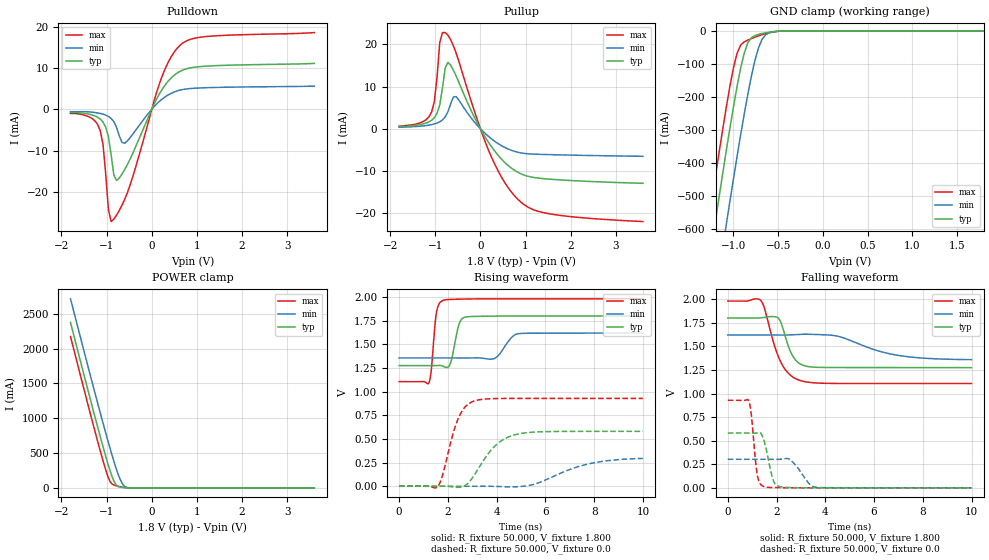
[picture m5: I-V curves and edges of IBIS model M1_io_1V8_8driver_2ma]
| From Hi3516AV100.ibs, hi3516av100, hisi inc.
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|   Model M1_io_1V8_8driver_2ma
[Model] M1_io_1V8_8driver_2ma
Model_type I/O
Enable   Active-Low
C_comp   2.169pF   2.129pF   2.343pF
C_comp_pullup   1.234pF   1.183pF   1.316pF
C_comp_pulldown   0.850pF   0.827pF   0.893pF
[Temperature Range]   25.000   0.125k   -40.000
[Voltage Range]   1.800V   1.620V   1.980V
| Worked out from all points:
|   slope of the pulldown table from 0 to 0.27 V, typ, clamps not added: 49.3 ohm
|   slope of the pullup table from 0 to 0.27 V, typ, clamps not added: 58.7 ohm
|   GND clamp passes 1 mA (typ) near -0.49 V on its own axis
|   POWER clamp passes 1 mA (typ) near -0.53 V on its own axis
|   rising waveform, R_fixture 50.000, V_fixture 1.800: 20-80 % time 250ps typ, 440ps min, 177ps max; typ from 1.27 V to 1.8 V
|   rising waveform, R_fixture 50.000, V_fixture 0.0: 20-80 % time 1.03ns typ, 1.83ns min, 621ps max; typ from 0 V to 0.581 V
|   falling waveform, R_fixture 50.000, V_fixture 1.800: 20-80 % time 451ps typ, 1.87ns min, 678ps max; typ from 1.8 V to 1.27 V
|   falling waveform, R_fixture 50.000, V_fixture 0.0: 20-80 % time 298ps typ, 511ps min, 203ps max; typ from 0.581 V to 0 V
[Pulldown]
|Voltage   I(typ)   I(min)   I(max)
-1.8V     -834.9uA   -584.3uA   -1.004mA
-1.32V    -1.381mA   -701.5uA   -2.25mA
-1.14V    -2.383mA   -1.008mA   -5.228mA
-1.08V    -3.097mA   -1.175mA   -8.538mA
-960mV    -6.663mA   -1.729mA   -24.37mA
-900mV    -11.1mA    -2.224mA   -27.22mA
-840mV    -15.93mA   -3.027mA   -26.64mA
-720mV    -16.67mA   -6.405mA   -24.52mA
-600mV    -14.62mA   -8.226mA   -21.83mA
180mV     3.95mA     2.031mA    6.549mA
600mV     9.049mA    4.574mA    15.24mA
3.6V      11.12mA    5.613mA    18.6mA
[Pullup]
|Voltage   I(typ)   I(min)   I(max)
-1.8V     502uA      359.1uA    624uA
-1.32V    1.018mA    625.1uA    1.462mA
-1.08V    2.011mA    978.4uA    3.991mA
-1.02V    2.615mA    1.135mA    6.437mA
-900mV    5.669mA    1.647mA    20.45mA
-780mV    14.41mA    2.816mA    22.77mA
-720mV    15.71mA    4.021mA    22.17mA
-540mV    12.56mA    7.619mA    18mA
180mV     -3.216mA   -1.814mA   -5.078mA
840mV     -10.36mA   -5.585mA   -16.81mA
1.5V      -11.9mA    -6.111mA   -20.07mA
3.6V      -12.91mA   -6.525mA   -21.97mA
[GND_clamp]
|Voltage   I(typ)   I(min)   I(max)
-1.8V     -1.691A    -1.906A    -1.562A
-1.28V    -718.8mA   -945.3mA   -582.9mA
-1.2V     -573.8mA   -800.2mA   -438.1mA
-1.08V    -362.8mA   -586.8mA   -231.3mA
-1V       -230.6mA   -448.7mA   -112.1mA
-960mV    -169.4mA   -381.5mA   -68.27mA
-880mV    -68.26mA   -253.2mA   -33.53mA
-800mV    -21.15mA   -138.4mA   -23.47mA
-720mV    -10.71mA   -51.74mA   -15.27mA
-680mV    -8.059mA   -25.85mA   -11.7mA
-600mV    -4.119mA   -5.718mA   -5.884mA
1.8V      0A         0A         0A
[POWER_clamp]
|Voltage   I(typ)   I(min)   I(max)
-1.8V     2.376A     2.715A     2.172A
-1.2V     877.1mA    1.22A      670.4mA
-1.04V    498.6mA    836.2mA    300.3mA
-960mV    321mA      649.8mA    143.2mA
-920mV    238.2mA    558.8mA    86.5mA
-880mV    162.5mA    469.9mA    55.14mA
-800mV    51.19mA    300.9mA    32.23mA
-760mV    25.15mA    223.2mA    24.36mA
-680mV    8.367mA    92.98mA    12.8mA
-600mV    3.083mA    20.8mA     5.475mA
-400mV    50.2uA     121.8uA    62uA
3.6V      -21.96uA   -79.79nA   -43uA
[Ramp]
| variable   typ   min   max
dV/dt_r   0.348/1.025n   0.177/1.825n   0.557/0.621n
dV/dt_f   0.316/0.451n   0.157/1.858n   0.524/0.678n
R_load = 50.000
[Rising Waveform]
R_fixture= 50.000
V_fixture= 1.800
V_fixture_min= 1.620
V_fixture_max= 1.980
|time   V(typ)   V(min)   V(max)
0s        1.275V     1.356V     1.106V
1.225ns   1.275V     1.356V     1.094V
1.53ns    1.275V     1.356V     1.832V
1.794ns   1.27V      1.356V     1.963V
2.068ns   1.279V     1.356V     1.974V
2.468ns   1.721V     1.356V     1.977V
2.728ns   1.788V     1.355V     1.978V
3.901ns   1.798V     1.35V      1.98V
4.901ns   1.799V     1.613V     1.98V
10ns      1.8V       1.62V      1.98V
[Rising Waveform]
R_fixture= 50.000
V_fixture= 0.0
V_fixture_min= 0.0
V_fixture_max= 0.0
|time   V(typ)   V(min)   V(max)
0s        463uV      0V         662.3uV
1.585ns   408.7uV    -545.9nV   -1.927mV
1.763ns   847uV      -715.6nV   102.8mV
2.393ns   -10.89mV   14.9uV     695.7mV
2.679ns   4.94mV     13.01uV    830.1mV
3.029ns   97.42mV    -36.92uV   896.2mV
3.867ns   409.8mV    -583.2uV   926.1mV
4.698ns   540.7mV    -5.545mV   928.3mV
7.855ns   580.5mV    241.4mV    928.5mV
10ns      580.6mV    294.9mV    928.5mV
[Falling Waveform]
R_fixture= 50.000
V_fixture= 1.800
V_fixture_min= 1.620
V_fixture_max= 1.980
|time   V(typ)   V(min)   V(max)
0s        1.8V       1.62V      1.98V
1.361ns   1.803V     1.62V      1.984V
1.508ns   1.807V     1.62V      1.901V
1.97ns    1.813V     1.62V      1.464V
2.16ns    1.764V     1.62V      1.341V
2.581ns   1.44V      1.622V     1.192V
2.937ns   1.319V     1.626V     1.141V
4.461ns   1.276V     1.61V      1.107V
7.194ns   1.275V     1.396V     1.106V
10ns      1.274V     1.359V     1.106V
[Falling Waveform]
R_fixture= 50.000
V_fixture= 0.0
V_fixture_min= 0.0
V_fixture_max= 0.0
|time   V(typ)   V(min)   V(max)
0s        580.6mV    302.7mV    928.5mV
855ps     580.6mV    302.7mV    925mV
970ps     580.4mV    302.7mV    765.3mV
1.217ns   583.4mV    302.7mV    130mV
1.489ns   498.4mV    302.7mV    12.56mV
1.846ns   96.35mV    302.4mV    3.199mV
2.104ns   15.19mV    302.2mV    2.124mV
2.561ns   2.978mV    297.6mV    1.179mV
3.602ns   506.3uV    6.478mV    701.3uV
10ns      464.6uV    27.23uV    662.4uV
